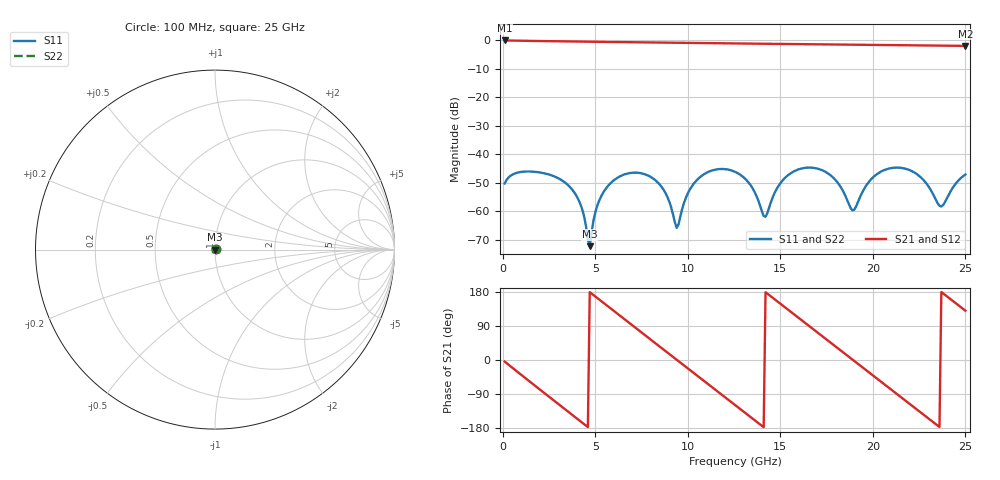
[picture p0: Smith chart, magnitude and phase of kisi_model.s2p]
! kisi T_ts6_ms_20: fast channel model (formula impedances, via model), up to 25 GHz
# Hz S RI R 50
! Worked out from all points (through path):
!   250 points, 100 MHz to 25 GHz, reference 50 ohm
!   highest |S21| = -0.04 dB at 100 MHz (marker M1); lowest = -1.9 dB at 25 GHz (marker M2)
!   group delay of S21, straight-line fit = 105 ps
!   lowest |S11| = -72.3 dB at 4.7 GHz (marker M3), VSWR 1.00, Z = 50 + j0.00885 ohm
!   |S11| at or under -10 dB: start of sweep to end of sweep
!   |S22| runs from -72.3 to -44.7 dB; largest |S21 - S12| = 0
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1e8  0.003 0.000593  0.9934 -0.0703  0.9934 -0.0703  0.003 0.000593
2.2e9  0.0043 -0.00175  0.0782 -0.9676  0.0782 -0.9676  0.0043 -0.00175
3.5e9  0.00193 -0.00219  -0.6788 -0.6757  -0.6788 -0.6757  0.00193 -0.00219
4.3e9  0.000503 -0.000927  -0.9206 -0.2354  -0.9206 -0.2354  0.000503 -0.000927
4.7e9  0.000225 8.85e-05  -0.9464 0.0149  -0.9464 0.0149  0.000225 8.85e-05
5.1e9  0.000384 0.00116  -0.9058 0.262  -0.9058 0.262  0.000384 0.00116
5.9e9  0.00192 0.00263  -0.6434 0.6797  -0.6434 0.6797  0.00192 0.00263
7.1e9  0.00453 0.00139  0.035 0.9249  0.035 0.9249  0.00453 0.00139
8.4e9  0.00289 -0.00119  0.716 0.5695  0.716 0.5695  0.00289 -0.00119
9.4e9  0.000478 0.000169  0.9068 0.00929  0.9068 0.00929  0.000478 0.000169
1.06e10  0.00156 0.00346  0.636 -0.6333  0.636 -0.6333  0.00156 0.00346
1.16e10  0.00447 0.00308  0.1124 -0.8828  0.1124 -0.8828  0.00447 0.00308
1.26e10  0.00481 0.000243  -0.4492 -0.7595  -0.4492 -0.7595  0.00481 0.000243
1.42e10  0.000625 0.000488  -0.8706 0.0174  -0.8706 0.0174  0.000625 0.000488
1.52e10  0.00111 0.00351  -0.6714 0.5432  -0.6714 0.5432  0.00111 0.00351
1.67e10  0.00511 0.00273  0.0849 0.849  0.0849 0.849  0.00511 0.00273
1.79e10  0.00373 -0.000363  0.6577 0.5306  0.6577 0.5306  0.00373 -0.000363
1.89e10  0.000893 0.000507  0.8382 0.0156  0.8382 0.0156  0.000893 0.000507
2.09e10  0.00372 0.00422  0.2191 -0.7956  0.2191 -0.7956  0.00372 0.00422
2.21e10  0.0049 0.0012  -0.4091 -0.7078  -0.4091 -0.7078  0.0049 0.0012
2.37e10  0.000913 0.000789  -0.8075 0.00854  -0.8075 0.00854  0.000913 0.000789
2.5e10  0.00155 0.00411  -0.5155 0.6112  -0.5155 0.6112  0.00155 0.00411
